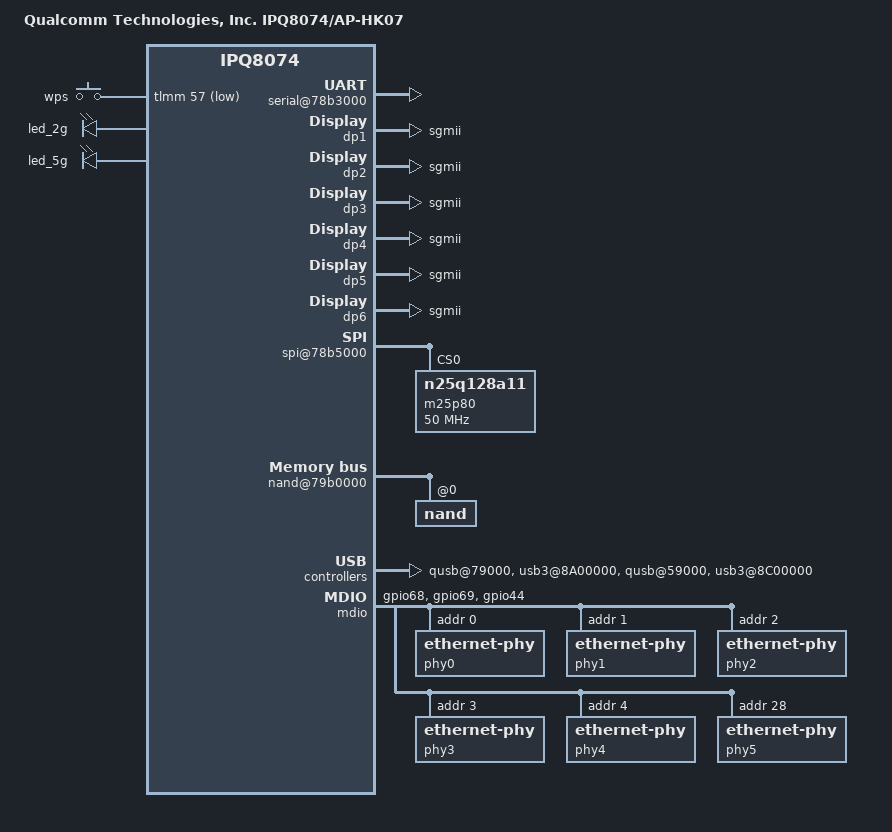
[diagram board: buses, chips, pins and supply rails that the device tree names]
// SPDX-License-Identifier: GPL-2.0-only
/dts-v1/;
/* Copyright (c) 2020 The Linux Foundation. All rights reserved.
 */
#include "ipq8074.dtsi"
#include "ipq8074-hk-cpu.dtsi"

/ {
	#address-cells = <0x2>;
	#size-cells = <0x2>;
	model = "Qualcomm Technologies, Inc. IPQ8074/AP-HK07";
	compatible = "qcom,ipq8074-ap-hk07", "qcom,ipq8074";
	qcom,msm-id = <0x156 0x0>, <0x185 0x0>;
	interrupt-parent = <&intc>;

	aliases {
		serial0 = &blsp1_uart5;
		/* Aliases as required by u-boot to patch MAC addresses */
		ethernet0 = "/soc/dp1";
		ethernet1 = "/soc/dp2";
		ethernet2 = "/soc/dp3";
		ethernet3 = "/soc/dp4";
		ethernet4 = "/soc/dp5";
		ethernet5 = "/soc/dp6";
	};

	chosen {
		stdout-path = "serial0";
	};

	soc {
		pinctrl@1000000 {
			button_pins: button_pins {
				wps_button {
					pins = "gpio57";
					function = "gpio";
					drive-strength = <8>;
					bias-pull-up;
				};
			};

			mdio_pins: mdio_pinmux {
				mux_0 {
					pins = "gpio68";
					function = "mdc";
					drive-strength = <8>;
					bias-pull-up;
				};
				mux_1 {
					pins = "gpio69";
					function = "mdio";
					drive-strength = <8>;
					bias-pull-up;
				};
				mux_2 {
					pins = "gpio44";
					function = "gpio";
					bias-pull-up;
				};
			};

			led_pins: led_pins {
				led_2g {
					pins = "gpio42";
					function = "gpio";
					drive-strength = <8>;
					bias-pull-down;
				};

				led_5g {
					pins = "gpio43";
					function = "gpio";
					drive-strength = <8>;
					bias-pull-down;
				};
			};
		};

		serial@78b3000 {
			status = "ok";
		};

		dp1 {
			device_type = "network";
			compatible = "qcom,nss-dp";
			qcom,id = <1>;
			reg = <0x3a001000 0x200>;
			qcom,mactype = <0>;
			local-mac-address = [000000000000];
			qcom,link-poll = <1>;
			qcom,phy-mdio-addr = <0>;
			phy-mode = "sgmii";
		};

		dp2 {
			device_type = "network";
			compatible = "qcom,nss-dp";
			qcom,id = <2>;
			reg = <0x3a001200 0x200>;
			qcom,mactype = <0>;
			local-mac-address = [000000000000];
			qcom,link-poll = <1>;
			qcom,phy-mdio-addr = <1>;
			phy-mode = "sgmii";
		};

		dp3 {
			device_type = "network";
			compatible = "qcom,nss-dp";
			qcom,id = <3>;
			reg = <0x3a001400 0x200>;
			qcom,mactype = <0>;
			local-mac-address = [000000000000];
			qcom,link-poll = <1>;
			qcom,phy-mdio-addr = <2>;
			phy-mode = "sgmii";
		};

		dp4 {
			device_type = "network";
			compatible = "qcom,nss-dp";
			qcom,id = <4>;
			reg = <0x3a001600 0x200>;
			qcom,mactype = <0>;
			local-mac-address = [000000000000];
			qcom,link-poll = <1>;
			qcom,phy-mdio-addr = <3>;
			phy-mode = "sgmii";
		};

		dp5 {
			device_type = "network";
			compatible = "qcom,nss-dp";
			qcom,id = <5>;
			reg = <0x3a001800 0x200>;
			qcom,mactype = <0>;
			local-mac-address = [000000000000];
			qcom,link-poll = <1>;
			qcom,phy-mdio-addr = <4>;
			phy-mode = "sgmii";
		};

		dp6 {
			device_type = "network";
			compatible = "qcom,nss-dp";
			qcom,id = <6>;
			reg = <0x3a001a00 0x200>;
			qcom,mactype = <0>;
			local-mac-address = [000000000000];
			qcom,link-poll = <1>;
			qcom,phy-mdio-addr = <28>;
			phy-mode = "sgmii";
		};

		spi@78b5000 {
			status = "ok";
			pinctrl-0 = <&spi_0_pins>;
			pinctrl-names = "default";
			cs-select = <0>;

			m25p80@0 {
				  compatible = "n25q128a11";
				  #address-cells = <1>;
				  #size-cells = <1>;
				  reg = <0>;
				  spi-max-frequency = <50000000>;
			};
		};

		dma@7984000 {
			 status = "ok";
		};

		nand@79b0000 {
			status = "ok";

			nand@0 {
				reg = <0>;
				#address-cells = <1>;
				#size-cells = <1>;

				nand-ecc-strength = <4>;
				nand-ecc-step-size = <512>;
				nand-bus-width = <8>;
			};
		};

		qusb@79000 {
			status = "ok";
		};

		ssphy@78000 {
			status = "ok";
		};

		usb3@8A00000 {
			status = "ok";
		};

		qusb@59000 {
			status = "ok";
		};

		ssphy@58000 {
			status = "ok";
		};

		usb3@8C00000 {
			status = "ok";
		};

		gpio_keys {
			compatible = "gpio-keys";
			pinctrl-0 = <&button_pins>;
			pinctrl-names = "default";
			status = "ok";

			button@1 {
				label = "wps";
				linux,code = <KEY_WPS_BUTTON>;
				gpios = <&tlmm 57 GPIO_ACTIVE_LOW>;
				linux,input-type = <1>;
				debounce-interval = <60>;
			};
		};

		leds {
			compatible = "gpio-leds";
			pinctrl-0 = <&led_pins>;
			pinctrl-names = "default";

			led_2g {
				label = "led_2g";
				gpio = <&tlmm 42 GPIO_ACTIVE_HIGH>;
				default-state = "off";
			};

			led_5g {
				label = "led_5g";
				gpio = <&tlmm 43 GPIO_ACTIVE_HIGH>;
				default-state = "off";
			};
		};

		mdio: mdio@90000 {
			pinctrl-0 = <&mdio_pins>;
			pinctrl-names = "default";
			phy-reset-gpio = <&tlmm 37 0 &tlmm 44 0>;
			phy0: ethernet-phy@0 {
				reg = <0>;
			};
			phy1: ethernet-phy@1 {
				reg = <1>;
			};
			phy2: ethernet-phy@2 {
				reg = <2>;
			};
			phy3: ethernet-phy@3 {
				reg = <3>;
			};
			phy4: ethernet-phy@4 {
				reg = <4>;
			};
			phy5: ethernet-phy@5 {
				reg = <28>;
			};
		};

		ess-switch@3a000000 {
			switch_cpu_bmp = <0x1>;  /* cpu port bitmap */
			switch_lan_bmp = <0x3e>; /* lan port bitmap */
			switch_wan_bmp = <0x40>; /* wan port bitmap */
			switch_mac_mode = <0x0>; /* mac mode for uniphy instance0*/
			switch_mac_mode1 = <0xff>; /* mac mode for uniphy instance1*/
			switch_mac_mode2 = <0xf>; /* mac mode for uniphy instance2*/
			bm_tick_mode = <0>; /* bm tick mode */
			tm_tick_mode = <0>; /* tm tick mode */
			qcom,port_phyinfo {
				port@0 {
					port_id = <1>;
					phy_address = <0>;
				};
				port@1 {
					port_id = <2>;
					phy_address = <1>;
				};
				port@2 {
					port_id = <3>;
					phy_address = <2>;
				};
				port@3 {
					port_id = <4>;
					phy_address = <3>;
				};
				port@4 {
					port_id = <5>;
					phy_address = <4>;
				};
				port@5 {
					port_id = <6>;
					phy_address = <28>;
					port_mac_sel = "QGMAC_PORT";
				};
			};
		};
		nss-macsec1 {
			compatible = "qcom,nss-macsec";
			phy_addr = <0x1c>;
			phy_access_mode = <0>;
			mdiobus = <&mdio>;
		};
	};
};
